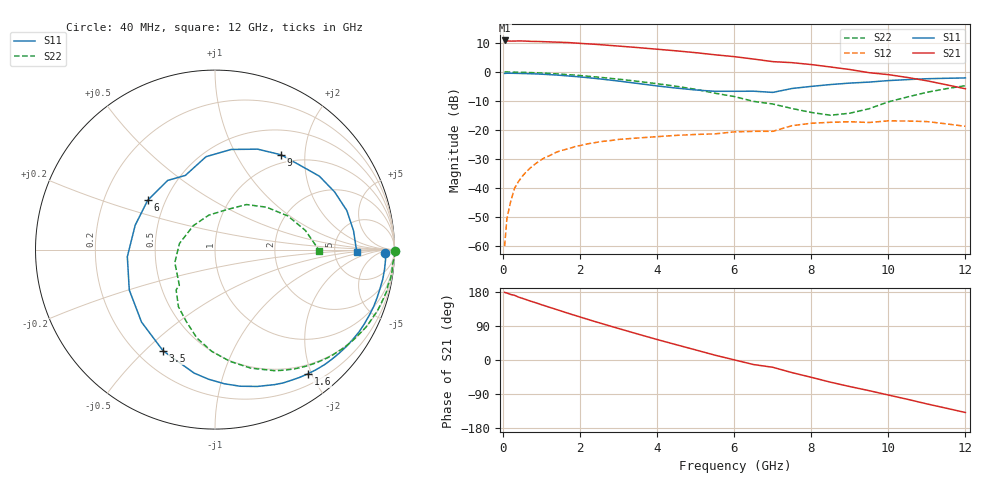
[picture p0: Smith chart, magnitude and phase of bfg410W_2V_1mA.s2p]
! Filename: 21bfg410.001
! BFG410W Field B1
! V1=8.164E-001V,V2=2.000E+000V, I1=1.402E-005A, I2=1.000E-003A
# GHz  S  MA  R 50
!  S11  S21  S12  S22
!Freq(GHz)  Mag  Ang  Mag  Ang  Mag  Ang  Mag  Ang
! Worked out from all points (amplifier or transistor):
!   44 points, 40 MHz to 12 GHz, reference 50 ohm
!   highest |S21| = 10.9 dB at 40 MHz (marker M1)
!   |S21| within 3 dB of that: start of sweep to 3.982 GHz
!   unconditionally stable (mu >= 1): 3.823 GHz to end of sweep
!   at 700 MHz: K = 0.12, MSG = 21.9 dB, |S12| = -33.2 dB
!   at 2.4 GHz: K = 0.47, MSG = 16.9 dB, |S12| = -24.3 dB
!   at 12 GHz: K = 2.24, MAG = 0.2 dB, |S12| = -18.7 dB
!   S11 on the Smith chart (normalised r, x): 40 MHz: 31, -12; 1.6 GHz: 0.36, -1.94; 3.5 GHz: 0.30, -0.57; 6 GHz: 0.40, +0.28; 9 GHz: 0.86, +1.56; 12 GHz: 8.47, -0.66
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0.04  0.945 -1.2  3.493 178.4  0.001 68.8  1.003 -0.5
0.1  0.952 -3.3  3.434 176.7  0.003 89.8  1.002 -2.0
0.3  0.949 -10.1  3.413 170.6  0.01 82.8  0.994 -6.8
0.4  0.945 -13.1  3.424 166.0  0.013 80.1  0.991 -9.4
1  0.916 -33.3  3.336 145.8  0.031 65.0  0.958 -22.9
1.6  0.864 -53.2  3.23 126.2  0.046 51.4  0.909 -35.9
1.9  0.834 -63.0  3.147 116.6  0.053 45.0  0.879 -42.1
2.2  0.798 -72.8  3.052 107.2  0.058 39.1  0.846 -48.2
2.8  0.723 -92.8  2.86 89.0  0.066 28.4  0.776 -59.9
3.5  0.634 -117.1  2.633 68.4  0.073 18.0  0.69 -73.2
4  0.575 -135.4  2.467 54.0  0.077 11.7  0.628 -82.4
4.5  0.528 -154.8  2.311 40.2  0.081 6.3  0.567 -91.9
5  0.49 -175.4  2.151 26.6  0.084 0.9  0.503 -101.6
6  0.465 143.8  1.839 0.4  0.093 -8.4  0.378 -122.6
6.5  0.467 124.3  1.672 -12.0  0.095 -13.3  0.312 -134.0
7  0.445 111.8  1.508 -19.2  0.095 0.4  0.281 -135.0
7.5  0.52 95.5  1.448 -33.3  0.119 -15.7  0.235 -162.2
8.5  0.608 67.0  1.219 -58.6  0.136 -38.3  0.18 132.4
9  0.644 55.1  1.103 -70.1  0.139 -47.6  0.195 100.3
10.5  0.74 25.7  0.804 -103.7  0.143 -77.2  0.372 39.4
11  0.766 16.5  0.706 -115.8  0.14 -90.8  0.447 24.8
12  0.79 -1.1  0.514 -138.6  0.116 -117.4  0.581 -0.5
